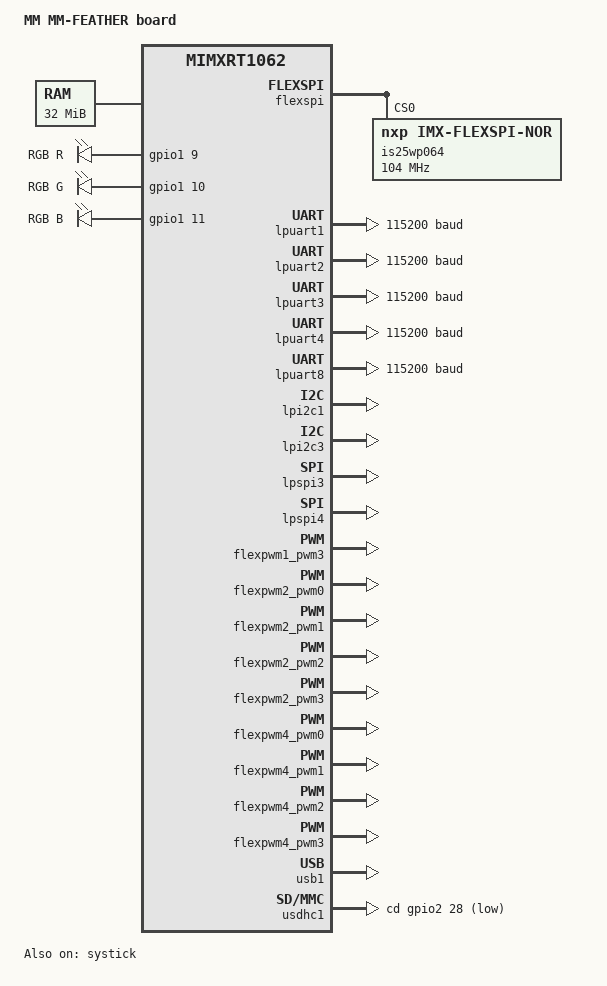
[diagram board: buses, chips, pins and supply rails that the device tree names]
/*
 * Copyright (c) 2021, MADMACHINE LIMITED
 *
 * SPDX-License-Identifier: Apache-2.0
 */

/dts-v1/;

#include <nxp/nxp_rt1060.dtsi>
#include "mm_feather-pinctrl.dtsi"

/ {
	model = "MM MM-FEATHER board";
	compatible = "nxp,mimxrt1062";

	aliases {
		led0 = &green_led;
		led1 = &red_led;
		led2 = &blue_led;
		sdhc0 = &usdhc1;
	};

	chosen {
		zephyr,sram = &sdram0;
		zephyr,itcm = &itcm;
		zephyr,dtcm = &dtcm;
		zephyr,console = &lpuart1;
		zephyr,shell-uart = &lpuart1;
		zephyr,flash = &is25wp064;
	};

	sdram0: memory@80000000 {
		/* Micron MT48LC16M16A2B4-6AIT:G */
		device_type = "memory";
		reg = <0x80000000 DT_SIZE_M(32)>;
	};

	leds {
		compatible = "gpio-leds";
		red_led: led_0 {
			gpios = <&gpio1 9 0>;
			label = "RGB R";
		};

		green_led: led_1 {
			gpios = <&gpio1 10 0>;
			label = "RGB G";
		};

		blue_led: led_2 {
			gpios = <&gpio1 11 0>;
			label = "RGB B";
		};
	};
};


&flexspi {
	status = "okay";
	reg = <0x402a8000 0x4000>, <0x60000000 DT_SIZE_M(8)>;
	is25wp064: is25wp064@0 {
		compatible = "nxp,imx-flexspi-nor";
		size = <67108864>;
		reg = <0>;
		spi-max-frequency = <104000000>;
		status = "okay";
		jedec-id = [9d 70 17];
	};
};

&lpuart1 {
	status = "okay";
	current-speed = <115200>;
	pinctrl-0 = <&pinmux_lpuart1>;
	pinctrl-1 = <&pinmux_lpuart1_sleep>;
	pinctrl-names = "default", "sleep";
};

&lpuart2 {
	status = "okay";
	current-speed = <115200>;
};

&lpuart3 {
	status = "okay";
	current-speed = <115200>;
};

&lpuart4 {
	status = "okay";
	current-speed = <115200>;
};

&lpuart8 {
	status = "okay";
	current-speed = <115200>;
};

&lpi2c1 {
	pinctrl-0 = <&pinmux_lpi2c1>;
	pinctrl-names = "default";
	status = "okay";
};

&lpi2c3 {
	pinctrl-0 = <&pinmux_lpi2c3>;
	pinctrl-names = "default";
	status = "okay";
};

&lpspi3 {
	status = "okay";
	pcs-sck-delay = <2>;
	sck-pcs-delay = <2>;
	transfer-delay = <2>;
};

&lpspi4 {
	status = "okay";
	pcs-sck-delay = <2>;
	sck-pcs-delay = <2>;
	transfer-delay = <2>;
};

&flexpwm1_pwm3 {
	status = "okay";
};

&flexpwm2_pwm0 {
	status = "okay";
};

&flexpwm2_pwm1 {
	status = "okay";
};

&flexpwm2_pwm2 {
	status = "okay";
};

&flexpwm2_pwm3 {
	status = "okay";
};

&flexpwm4_pwm0 {
	status = "okay";
};

&flexpwm4_pwm1 {
	status = "okay";
};

&flexpwm4_pwm2 {
	status = "okay";
};

&flexpwm4_pwm3 {
	status = "okay";
};

&usb1 {
	status = "okay";
};

&usdhc1 {
	status = "okay";
	cd-gpios = <&gpio2 28 GPIO_ACTIVE_LOW>;
	no-1-8-v;
	pinctrl-0 = <&pinmux_usdhc1>;
	pinctrl-1 = <&pinmux_usdhc1_slow>;
	pinctrl-2 = <&pinmux_usdhc1_med>;
	pinctrl-3 = <&pinmux_usdhc1_fast>;
	pinctrl-names = "default", "slow", "med", "fast";
};

&edma0 {
	status = "okay";
};

&systick {
	status = "okay";
};
